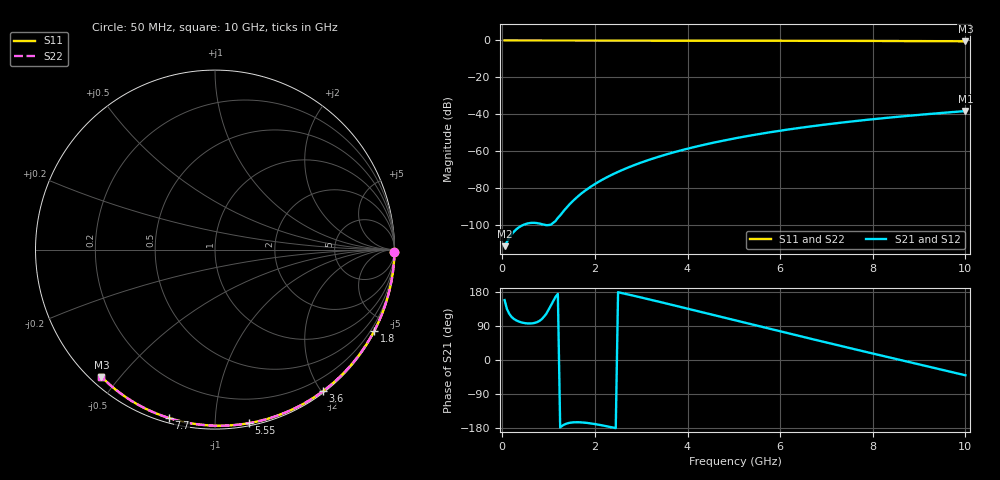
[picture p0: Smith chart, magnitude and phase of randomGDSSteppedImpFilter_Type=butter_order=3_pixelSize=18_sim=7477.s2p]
! freq	dB(S11)	phase(S11)	dB(S12)	phase(S12)
!  dB(S21)	phase(S21)	dB(S22)	phase(S22)
!S-par simulation data
#  GHz  S  DB  R 50
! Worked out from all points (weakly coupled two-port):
!   200 points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, 50 MHz to 10 GHz, reference 50 ohm
!   highest |S21| = -38.36 dB at 10 GHz (marker M1); lowest = -111.7 dB at 50 MHz (marker M2)
!   lowest |S11| = -0.4 dB at 10 GHz (marker M3), VSWR 39.02, Z = 1.54 - j22.4 ohm
!   |S11| at or under -10 dB: nowhere
!   |S22| runs from -0.4 to 0.0 dB; largest |S21 - S12| = 0
!   S11 on the Smith chart (normalised r, x): 50 MHz: open; 1.8 GHz: 0.04, -4.17; 3.6 GHz: 0.02, -2.02; 5.55 GHz: 0.02, -1.22; 7.7 GHz: 0.02, -0.76; 10 GHz: 0.03, -0.45
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0.05  -0.00 -0.8  -111.75 158.1  -111.75 158.1  -0.00 -0.8
0.9  -0.02 -13.6  -100.09 114.2  -100.09 114.2  -0.02 -13.6
1.75  -0.03 -26.3  -82.32 -165.0  -82.32 -165.0  -0.03 -26.3
1.8  -0.03 -27.0  -81.37 -165.6  -81.37 -165.6  -0.03 -27.0
1.85  -0.04 -27.7  -80.48 -166.4  -80.48 -166.4  -0.04 -27.8
1.9  -0.04 -28.5  -79.62 -167.2  -79.62 -167.2  -0.04 -28.5
2.05  -0.04 -30.7  -77.23 -170.1  -77.23 -170.1  -0.04 -30.7
2.25  -0.04 -33.6  -74.42 -174.7  -74.42 -174.7  -0.04 -33.6
2.45  -0.05 -36.5  -71.94 -179.8  -71.94 -179.8  -0.05 -36.5
2.65  -0.05 -39.4  -69.72 174.8  -69.72 174.8  -0.05 -39.4
3  -0.06 -44.4  -66.31 164.9  -66.31 164.9  -0.06 -44.4
3.4  -0.07 -50.0  -62.98 153.3  -62.98 153.3  -0.07 -50.1
3.6  -0.07 -52.8  -61.49 147.4  -61.49 147.4  -0.07 -52.8
4.3  -0.09 -62.4  -56.98 126.6  -56.98 126.6  -0.09 -62.5
5.05  -0.11 -72.4  -53.05 104.1  -53.05 104.1  -0.11 -72.4
5.55  -0.13 -78.8  -50.82 89.1  -50.82 89.1  -0.13 -78.9
6.1  -0.15 -85.8  -48.64 72.7  -48.64 72.7  -0.15 -85.9
6.7  -0.18 -93.3  -46.55 55.0  -46.55 55.0  -0.18 -93.4
7.7  -0.24 -105.3  -43.58 25.7  -43.58 25.7  -0.24 -105.4
8.35  -0.29 -112.9  -41.92 7.0  -41.92 7.0  -0.29 -113.0
9.15  -0.36 -122.1  -40.09 -15.9  -40.09 -15.9  -0.36 -122.2
10  -0.45 -131.7  -38.36 -40.3  -38.36 -40.3  -0.44 -131.9
